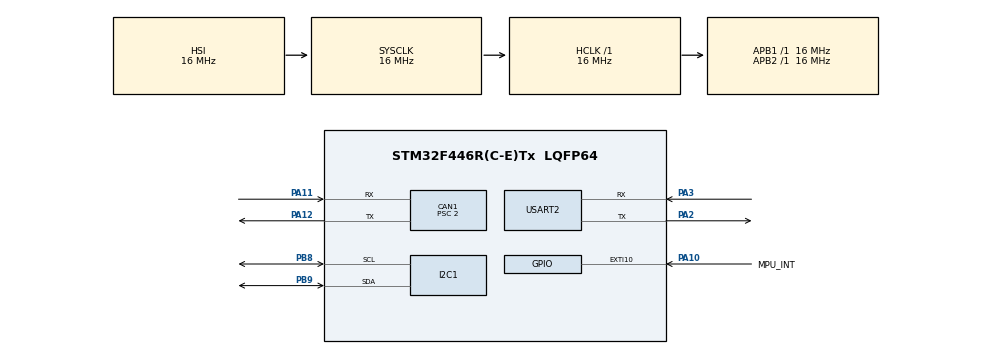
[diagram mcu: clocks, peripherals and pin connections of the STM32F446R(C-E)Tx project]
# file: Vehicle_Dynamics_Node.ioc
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CAN1.ABOM=ENABLE
CAN1.BS1=CAN_BS1_13TQ
CAN1.BS2=CAN_BS2_2TQ
CAN1.CalculateBaudRate=500000
CAN1.CalculateTimeBit=2000
CAN1.CalculateTimeQuantum=125.0
CAN1.Mode=CAN_MODE_LOOPBACK
CAN1.NART=ENABLE
CAN1.Prescaler=2
I2C1.OwnAddress=0x64
Mcu.Family=STM32F4
Mcu.Name=STM32F446R(C-E)Tx
Mcu.Package=LQFP64
NVIC.EXTI15_10_IRQn=true\:0\:0\:false\:false\:true\:true\:true\:true
NVIC.I2C1_EV_IRQn=true\:0\:0\:false\:false\:true\:true\:true\:true
NVIC.PriorityGroup=NVIC_PRIORITYGROUP_4
PA10.GPIO_Label=MPU_INT
PA10.Signal=GPXTI10
PA11.Mode=CAN_Activate
PA11.Signal=CAN1_RX
PA12.Mode=CAN_Activate
PA12.Signal=CAN1_TX
PA2.Mode=Asynchronous
PA2.Signal=USART2_TX
PA3.Mode=Asynchronous
PA3.Signal=USART2_RX
PB8.Mode=I2C
PB8.Signal=I2C1_SCL
PB9.Mode=I2C
PB9.Signal=I2C1_SDA
ProjectManager.HeapSize=0x200
ProjectManager.StackSize=0x400
ProjectManager.TargetToolchain=STM32CubeIDE
RCC.AHBFreq_Value=16000000
RCC.APB1Freq_Value=16000000
RCC.APB1TimFreq_Value=16000000
RCC.APB2Freq_Value=16000000
RCC.APB2TimFreq_Value=16000000
RCC.CortexFreq_Value=16000000
RCC.HCLKFreq_Value=16000000
RCC.SYSCLKFreq_VALUE=16000000
RCC.USBFreq_Value=96000000
RCC.VCOOutputFreq_Value=192000000
USART2.VirtualMode=VM_ASYNC
board=NUCLEO-F446RE

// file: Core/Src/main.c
/* USER CODE BEGIN Header */
/**
  ******************************************************************************
  * @file           : main.c (Vehicle Dynamics Node)
  * @brief          : Main program body
  ******************************************************************************
  * @attention
  *
  * Copyright (c) 2026 STMicroelectronics.
  * All rights reserved.
  *
  * This software is licensed under terms that can be found in the LICENSE file
  * in the root directory of this software component.
  * If no LICENSE file comes with this software, it is provided AS-IS.
  *
  ******************************************************************************
  */
/* USER CODE END Header */
#include "main.h"

/* USER CODE BEGIN Includes */
#include <math.h>
#include <stdio.h>
#include <string.h>
/* USER CODE END Includes */

/* USER CODE BEGIN PD */
#define MPU6050_ADDR (0x68 << 1)
/* USER CODE END PD */

CAN_HandleTypeDef hcan1;

I2C_HandleTypeDef hi2c1;

UART_HandleTypeDef huart2;

/* USER CODE BEGIN PV */
volatile uint8_t imu_data_ready = 0;
volatile uint32_t imu_timestamp_ms = 0;
uint8_t imu_sequence_number = 0;
uint8_t uart_print_counter = 0;
/* USER CODE END PV */

void SystemClock_Config(void);
static void MX_GPIO_Init(void);
static void MX_I2C1_Init(void);
static void MX_USART2_UART_Init(void);
static void MX_CAN1_Init(void);
/* USER CODE BEGIN PFP */
int MPU6050_selftest (void);
int MPU6050_normal_init(void);
int MPU6050_read_sample(int16_t *acc_x, int16_t *acc_y, int16_t *acc_z, int16_t *gyro_x, int16_t *gyro_y, int16_t *gyro_z);
int CAN_Vehicle_init(void);
int CAN_send_imu_frames(int16_t acc_x, int16_t acc_y, int16_t acc_z, int16_t gyro_x, int16_t gyro_y, int16_t gyro_z, uint8_t sequence_number, uint32_t timestamp_ms);
/* USER CODE END PFP */

int main(void)
{

  /* MCU Configuration--------------------------------------------------------*/

  /* Reset of all peripherals, Initializes the Flash interface and the Systick. */
  HAL_Init();

  /* Configure the system clock */
  SystemClock_Config();

  /* Initialize all configured peripherals */
  MX_GPIO_Init();
  MX_I2C1_Init();
  MX_USART2_UART_Init();
  MX_CAN1_Init();
  /* USER CODE BEGIN 2 */
  char bootmsg[] = "\r\n--- VEHICLE BOOT ---\r\n";
  HAL_UART_Transmit(&huart2, (uint8_t *)bootmsg, strlen(bootmsg), 100);

  if(MPU6050_normal_init() != 0){
	  char error[] = "MPU init failed\r\n";
      HAL_UART_Transmit(&huart2, (uint8_t *)error, strlen(error), 100);

      while(1){
      }
  }

  if(CAN_Vehicle_init() != 0){
      char error[] = "CAN init failed\r\n";
      HAL_UART_Transmit(&huart2, (uint8_t *)error, strlen(error), 100);

      while(1){
      }
  }
  /* USER CODE END 2 */

  /* Infinite loop */
  /* USER CODE BEGIN WHILE */
  while (1){
	  if(imu_data_ready == 1){
	  		  imu_data_ready = 0;
	  		  int16_t acc_x, acc_y, acc_z;
	  		  int16_t gyro_x, gyro_y, gyro_z;

	  		if(MPU6050_read_sample(&acc_x, &acc_y, &acc_z, &gyro_x, &gyro_y, &gyro_z) == 0){

	  			uart_print_counter++;

	  			if(uart_print_counter >= 20){

	  				uart_print_counter = 0;

	  				if(CAN_send_imu_frames(acc_x, acc_y, acc_z, gyro_x, gyro_y, gyro_z, imu_sequence_number, imu_timestamp_ms) == 0){

	  					char message[120];

	  					snprintf(message, sizeof(message), "TX IMU sample | Seq=%d | Time=%lu ms\r\n", imu_sequence_number, imu_timestamp_ms);

	  					HAL_UART_Transmit(&huart2, (uint8_t *)message, strlen(message), 100);

	  					imu_sequence_number++;
	  				}
	  			}
	  		}
	  	  }

    /* USER CODE END WHILE */

  }
}

void SystemClock_Config(void)
{
  RCC_OscInitTypeDef RCC_OscInitStruct = {0};
  RCC_ClkInitTypeDef RCC_ClkInitStruct = {0};

  /** Configure the main internal regulator output voltage
  */
  __HAL_RCC_PWR_CLK_ENABLE();
  __HAL_PWR_VOLTAGESCALING_CONFIG(PWR_REGULATOR_VOLTAGE_SCALE3);

  /** Initializes the RCC Oscillators according to the specified parameters
  * in the RCC_OscInitTypeDef structure.
  */
  RCC_OscInitStruct.OscillatorType = RCC_OSCILLATORTYPE_HSI;
  RCC_OscInitStruct.HSIState = RCC_HSI_ON;
  RCC_OscInitStruct.HSICalibrationValue = RCC_HSICALIBRATION_DEFAULT;
  RCC_OscInitStruct.PLL.PLLState = RCC_PLL_NONE;
  if (HAL_RCC_OscConfig(&RCC_OscInitStruct) != HAL_OK)
  {
    Error_Handler();
  }

  /** Initializes the CPU, AHB and APB buses clocks
  */
  RCC_ClkInitStruct.ClockType = RCC_CLOCKTYPE_HCLK|RCC_CLOCKTYPE_SYSCLK
                              |RCC_CLOCKTYPE_PCLK1|RCC_CLOCKTYPE_PCLK2;
  RCC_ClkInitStruct.SYSCLKSource = RCC_SYSCLKSOURCE_HSI;
  RCC_ClkInitStruct.AHBCLKDivider = RCC_SYSCLK_DIV1;
  RCC_ClkInitStruct.APB1CLKDivider = RCC_HCLK_DIV1;
  RCC_ClkInitStruct.APB2CLKDivider = RCC_HCLK_DIV1;

  if (HAL_RCC_ClockConfig(&RCC_ClkInitStruct, FLASH_LATENCY_0) != HAL_OK)
  {
    Error_Handler();
  }
}

static void MX_CAN1_Init(void)
{

  hcan1.Instance = CAN1;
  hcan1.Init.Prescaler = 2;
  hcan1.Init.Mode = CAN_MODE_NORMAL;
  hcan1.Init.SyncJumpWidth = CAN_SJW_1TQ;
  hcan1.Init.TimeSeg1 = CAN_BS1_13TQ;
  hcan1.Init.TimeSeg2 = CAN_BS2_2TQ;
  hcan1.Init.TimeTriggeredMode = DISABLE;
  hcan1.Init.AutoBusOff = ENABLE;
  hcan1.Init.AutoWakeUp = DISABLE;
  hcan1.Init.AutoRetransmission = ENABLE;
  hcan1.Init.ReceiveFifoLocked = DISABLE;
  hcan1.Init.TransmitFifoPriority = DISABLE;
  if (HAL_CAN_Init(&hcan1) != HAL_OK)
  {
    Error_Handler();
  }

}

static void MX_I2C1_Init(void)
{

  hi2c1.Instance = I2C1;
  hi2c1.Init.ClockSpeed = 100000;
  hi2c1.Init.DutyCycle = I2C_DUTYCYCLE_2;
  hi2c1.Init.OwnAddress1 = 0;
  hi2c1.Init.AddressingMode = I2C_ADDRESSINGMODE_7BIT;
  hi2c1.Init.DualAddressMode = I2C_DUALADDRESS_DISABLE;
  hi2c1.Init.OwnAddress2 = 0;
  hi2c1.Init.GeneralCallMode = I2C_GENERALCALL_DISABLE;
  hi2c1.Init.NoStretchMode = I2C_NOSTRETCH_DISABLE;
  if (HAL_I2C_Init(&hi2c1) != HAL_OK)
  {
    Error_Handler();
  }

}

static void MX_USART2_UART_Init(void)
{

  huart2.Instance = USART2;
  huart2.Init.BaudRate = 115200;
  huart2.Init.WordLength = UART_WORDLENGTH_8B;
  huart2.Init.StopBits = UART_STOPBITS_1;
  huart2.Init.Parity = UART_PARITY_NONE;
  huart2.Init.Mode = UART_MODE_TX_RX;
  huart2.Init.HwFlowCtl = UART_HWCONTROL_NONE;
  huart2.Init.OverSampling = UART_OVERSAMPLING_16;
  if (HAL_UART_Init(&huart2) != HAL_OK)
  {
    Error_Handler();
  }

}

static void MX_GPIO_Init(void)
{
  GPIO_InitTypeDef GPIO_InitStruct = {0};

  /* GPIO Ports Clock Enable */
  __HAL_RCC_GPIOA_CLK_ENABLE();
  __HAL_RCC_GPIOB_CLK_ENABLE();

  /*Configure GPIO pin : MPU_INT_Pin */
  GPIO_InitStruct.Pin = MPU_INT_Pin;
  GPIO_InitStruct.Mode = GPIO_MODE_IT_RISING;
  GPIO_InitStruct.Pull = GPIO_NOPULL;
  HAL_GPIO_Init(MPU_INT_GPIO_Port, &GPIO_InitStruct);

  /* EXTI interrupt init*/
  HAL_NVIC_SetPriority(EXTI15_10_IRQn, 0, 0);
  HAL_NVIC_EnableIRQ(EXTI15_10_IRQn);

}

/* USER CODE BEGIN 4 */

/**
  * @brief MPU-6050 self test percentage
  * @retval None
  */
int MPU6050_selftest(void)
{
    const int SELF_TEST_SAMPLES = 200;

    uint8_t gyrost = 0xE0;
    uint8_t accst = 0xF0;
    uint8_t wake = 0x00;
    uint8_t gyro_normal = 0x00;
    uint8_t acc_normal = 0x10;

    int16_t gyro_measurement_x, gyro_measurement_y, gyro_measurement_z;
    int16_t acc_measurement_x, acc_measurement_y, acc_measurement_z;
    int16_t gyrost_measurement_x, gyrost_measurement_y, gyrost_measurement_z;
    int16_t accst_measurement_x, accst_measurement_y, accst_measurement_z;

    int32_t gyro_sum_x, gyro_sum_y, gyro_sum_z;
    int32_t acc_sum_x, acc_sum_y, acc_sum_z;

    uint8_t XGst, YGst, ZGst;
    uint8_t Ast;

    uint8_t gyro_raw[6];
    uint8_t acc_raw[6];

    float FTXG, FTYG, FTZG, FTXA, FTYA, FTZA;

    // MPU comes up in sleep mode upon power-up so Set sleep bit to 0
    if(HAL_I2C_Mem_Write(&hi2c1, MPU6050_ADDR, 0x6B, I2C_MEMADD_SIZE_8BIT, &wake, 1, 100) != HAL_OK){
        return -1;}
    //

    //Setting normal ranges before baseline readings
    if(HAL_I2C_Mem_Write(&hi2c1, MPU6050_ADDR, 0x1B, I2C_MEMADD_SIZE_8BIT, &gyro_normal, 1, 100) != HAL_OK){
        return -1;}

    if(HAL_I2C_Mem_Write(&hi2c1, MPU6050_ADDR, 0x1C, I2C_MEMADD_SIZE_8BIT, &acc_normal, 1, 100) != HAL_OK){
        return -1;}
    //

    HAL_Delay(1000);

    //Gyroscope measurements without self test
    gyro_sum_x = 0;
    gyro_sum_y = 0;
    gyro_sum_z = 0;

    for(int i = 0; i < SELF_TEST_SAMPLES; i++){
        if(HAL_I2C_Mem_Read(&hi2c1, MPU6050_ADDR, 0x43, I2C_MEMADD_SIZE_8BIT, gyro_raw, 6, 100) != HAL_OK){
            return -1;}

        gyro_sum_x += ((int16_t)gyro_raw[0] << 8) | gyro_raw[1];
        gyro_sum_y += ((int16_t)gyro_raw[2] << 8) | gyro_raw[3];
        gyro_sum_z += ((int16_t)gyro_raw[4] << 8) | gyro_raw[5];

        HAL_Delay(2);}

    gyro_measurement_x = gyro_sum_x / SELF_TEST_SAMPLES;
    gyro_measurement_y = gyro_sum_y / SELF_TEST_SAMPLES;
    gyro_measurement_z = gyro_sum_z / SELF_TEST_SAMPLES;
    //

    //Accelerometer measurements without self test
    acc_sum_x = 0;
    acc_sum_y = 0;
    acc_sum_z = 0;

    for(int i = 0; i < SELF_TEST_SAMPLES; i++){
        if(HAL_I2C_Mem_Read(&hi2c1, MPU6050_ADDR, 0x3B, I2C_MEMADD_SIZE_8BIT, acc_raw, 6, 100) != HAL_OK){
            return -1;}

        acc_sum_x += ((int16_t)acc_raw[0] << 8) | acc_raw[1];
        acc_sum_y += ((int16_t)acc_raw[2] << 8) | acc_raw[3];
        acc_sum_z += ((int16_t)acc_raw[4] << 8) | acc_raw[5];

        HAL_Delay(2);}

    acc_measurement_x = acc_sum_x / SELF_TEST_SAMPLES;
    acc_measurement_y = acc_sum_y / SELF_TEST_SAMPLES;
    acc_measurement_z = acc_sum_z / SELF_TEST_SAMPLES;
    //

    //Turning on Self Test
    if(HAL_I2C_Mem_Write(&hi2c1, MPU6050_ADDR, 0x1B, I2C_MEMADD_SIZE_8BIT, &gyrost, 1, 100) != HAL_OK){
        return -1;}

    if(HAL_I2C_Mem_Write(&hi2c1, MPU6050_ADDR, 0x1C, I2C_MEMADD_SIZE_8BIT, &accst, 1, 100) != HAL_OK){
        return -1;}
    //

    HAL_Delay(100);

    //Obtaining [X-Z]g/a
    uint8_t self_test_codes[4];

    if(HAL_I2C_Mem_Read(&hi2c1, MPU6050_ADDR, 0x0D, I2C_MEMADD_SIZE_8BIT, self_test_codes, 4, 100) != HAL_OK){
        return -1;}

    XGst = self_test_codes[0];
    YGst = self_test_codes[1];
    ZGst = self_test_codes[2];
    Ast = self_test_codes[3];
    //

    //Gyroscope measurements with self test
    gyro_sum_x = 0;
    gyro_sum_y = 0;
    gyro_sum_z = 0;

    for(int i = 0; i < SELF_TEST_SAMPLES; i++){
        if(HAL_I2C_Mem_Read(&hi2c1, MPU6050_ADDR, 0x43, I2C_MEMADD_SIZE_8BIT, gyro_raw, 6, 100) != HAL_OK){
            return -1;}

        gyro_sum_x += ((int16_t)gyro_raw[0] << 8) | gyro_raw[1];
        gyro_sum_y += ((int16_t)gyro_raw[2] << 8) | gyro_raw[3];
        gyro_sum_z += ((int16_t)gyro_raw[4] << 8) | gyro_raw[5];

        HAL_Delay(2);}

    gyrost_measurement_x = gyro_sum_x / SELF_TEST_SAMPLES;
    gyrost_measurement_y = gyro_sum_y / SELF_TEST_SAMPLES;
    gyrost_measurement_z = gyro_sum_z / SELF_TEST_SAMPLES;
    //

    //Accelerometer measurements with self test
    acc_sum_x = 0;
    acc_sum_y = 0;
    acc_sum_z = 0;

    for(int i = 0; i < SELF_TEST_SAMPLES; i++){
        if(HAL_I2C_Mem_Read(&hi2c1, MPU6050_ADDR, 0x3B, I2C_MEMADD_SIZE_8BIT, acc_raw, 6, 100) != HAL_OK){
            return -1;}

        acc_sum_x += ((int16_t)acc_raw[0] << 8) | acc_raw[1];
        acc_sum_y += ((int16_t)acc_raw[2] << 8) | acc_raw[3];
        acc_sum_z += ((int16_t)acc_raw[4] << 8) | acc_raw[5];

        HAL_Delay(2);}

    accst_measurement_x = acc_sum_x / SELF_TEST_SAMPLES;
    accst_measurement_y = acc_sum_y / SELF_TEST_SAMPLES;
    accst_measurement_z = acc_sum_z / SELF_TEST_SAMPLES;
    //

    //Turning off Self Test
    HAL_I2C_Mem_Write(&hi2c1, MPU6050_ADDR, 0x1B, I2C_MEMADD_SIZE_8BIT, &gyro_normal, 1, 100);
    HAL_I2C_Mem_Write(&hi2c1, MPU6050_ADDR, 0x1C, I2C_MEMADD_SIZE_8BIT, &acc_normal, 1, 100);
    //

    //Using DataSheet Equations to calculate FT[g/a]
    uint8_t XGvalue = XGst & 0x1F;
    uint8_t YGvalue = YGst & 0x1F;
    uint8_t ZGvalue = ZGst & 0x1F;

    if(XGvalue != 0){
        FTXG = 25.0f * 131.0f * powf(1.046f, (float)(XGvalue - 1));}
    else{
        FTXG = 0;}

    if(YGvalue != 0){
        FTYG = -25.0f * 131.0f * powf(1.046f, (float)(YGvalue - 1));}
    else{
        FTYG = 0;}

    if(ZGvalue != 0){
        FTZG = 25.0f * 131.0f * powf(1.046f, (float)(ZGvalue - 1));}
    else{
        FTZG = 0;}

    uint8_t XAvalue = (((XGst >> 5) & 0x07) << 2) | ((Ast >> 4) & 0x03);
    uint8_t YAvalue = (((YGst >> 5) & 0x07) << 2) | ((Ast >> 2) & 0x03);
    uint8_t ZAvalue = (((ZGst >> 5) & 0x07) << 2) | (Ast & 0x03);

    if(XAvalue != 0){
        FTXA = 4096.0f * 0.34f * powf(0.92f / 0.34f, (XAvalue - 1) / 30.0f);}
    else{
        FTXA = 0;}

    if(YAvalue != 0){
        FTYA = 4096.0f * 0.34f * powf(0.92f / 0.34f, (YAvalue - 1) / 30.0f);}
    else{
        FTYA = 0;}

    if(ZAvalue != 0){
        FTZA = 4096.0f * 0.34f * powf(0.92f / 0.34f, (ZAvalue - 1) / 30.0f);}
    else{
        FTZA = 0;}
    //

    //STR Gyro calculation
    int32_t STRgyro_x = (int32_t)gyrost_measurement_x - gyro_measurement_x;
    int32_t STRgyro_y = (int32_t)gyrost_measurement_y - gyro_measurement_y;
    int32_t STRgyro_z = (int32_t)gyrost_measurement_z - gyro_measurement_z;
    //

    //STR Acc Calculation
    int32_t STRacc_x = (int32_t)accst_measurement_x - acc_measurement_x;
    int32_t STRacc_y = (int32_t)accst_measurement_y - acc_measurement_y;
    int32_t STRacc_z = (int32_t)accst_measurement_z - acc_measurement_z;
    //

    //Change from factory trim Self Test (%)
    if((FTXG == 0) || (FTYG == 0) || (FTZG == 0) || (FTXA == 0) || (FTYA == 0) || (FTZA == 0)){
        return -2;}

    float FTGyroX = 100.0f * ((float)STRgyro_x - FTXG) / FTXG;
    float FTGyroY = 100.0f * ((float)STRgyro_y - FTYG) / FTYG;
    float FTGyroZ = 100.0f * ((float)STRgyro_z - FTZG) / FTZG;

    float FTAccX = 100.0f * ((float)STRacc_x - FTXA) / FTXA;
    float FTAccY = 100.0f * ((float)STRacc_y - FTYA) / FTYA;
    float FTAccZ = 100.0f * ((float)STRacc_z - FTZA) / FTZA;
    //

    char message[240];

    snprintf(message, sizeof(message),
             "Gyro self-test change:\r\n"
             "X = %.2f%%\r\n"
             "Y = %.2f%%\r\n"
             "Z = %.2f%%\r\n"
             "Accel self-test change:\r\n"
             "X = %.2f%%\r\n"
             "Y = %.2f%%\r\n"
             "Z = %.2f%%\r\n",
             FTGyroX, FTGyroY, FTGyroZ,
             FTAccX, FTAccY, FTAccZ);

    HAL_UART_Transmit(&huart2, (uint8_t *)message, strlen(message), 100);

    return 0;
}

/**
  * @brief Normal Initialisation
  * @retval None
  */
int MPU6050_normal_init(void)
{
    uint8_t wake = 0x00;
    uint8_t sample_rate_divider = 4;
    uint8_t config = 0x03;
    uint8_t gyro_config = 0x00;
    uint8_t accel_config = 0x10;
    uint8_t int_enable = 0x01;

    // Wake MPU
    if(HAL_I2C_Mem_Write(&hi2c1, MPU6050_ADDR, 0x6B, I2C_MEMADD_SIZE_8BIT, &wake, 1, 100) != HAL_OK){
        return -1;}

    // DLPF enabled, approximately 42 Hz gyro bandwidth
    if(HAL_I2C_Mem_Write(&hi2c1, MPU6050_ADDR, 0x1A, I2C_MEMADD_SIZE_8BIT, &config, 1, 100) != HAL_OK){
        return -1;}

    // 1 kHz / (1 + 4) = 200 Hz sample rate
    if(HAL_I2C_Mem_Write(&hi2c1, MPU6050_ADDR, 0x19, I2C_MEMADD_SIZE_8BIT, &sample_rate_divider, 1, 100) != HAL_OK){
        return -1;}

    // Gyro ±250 dps
    if(HAL_I2C_Mem_Write(&hi2c1, MPU6050_ADDR, 0x1B, I2C_MEMADD_SIZE_8BIT, &gyro_config, 1, 100) != HAL_OK){
        return -1;}

    // Accelerometer ±8 g
    if(HAL_I2C_Mem_Write(&hi2c1, MPU6050_ADDR, 0x1C, I2C_MEMADD_SIZE_8BIT, &accel_config, 1, 100) != HAL_OK){
        return -1;}

    // Enable Data Ready interrupt
    if(HAL_I2C_Mem_Write(&hi2c1, MPU6050_ADDR, 0x38, I2C_MEMADD_SIZE_8BIT, &int_enable, 1, 100) != HAL_OK){
        return -1;}

    return 0;
}

/**
  * @brief acquiring data from MPU-6050 registers
  * @retval accelerometer and gyroscope data
  */
int MPU6050_read_sample(int16_t *acc_x, int16_t *acc_y, int16_t *acc_z, int16_t *gyro_x, int16_t *gyro_y, int16_t *gyro_z){
    uint8_t raw_data[14]; //Temperature reading not needed so it is not stored and separating the reading results
    					  //two different I2C which will result uncorrelated gyroscope and accelerometer

    if(HAL_I2C_Mem_Read(&hi2c1, 0x68 << 1, 0x3B, I2C_MEMADD_SIZE_8BIT, raw_data, 14, 100) != HAL_OK){
        return -1;}

    *acc_x = ((int16_t)raw_data[0] << 8) | raw_data[1];
    *acc_y = ((int16_t)raw_data[2] << 8) | raw_data[3];
    *acc_z = ((int16_t)raw_data[4] << 8) | raw_data[5];

    *gyro_x = ((int16_t)raw_data[8] << 8) | raw_data[9];
    *gyro_y = ((int16_t)raw_data[10] << 8) | raw_data[11];
    *gyro_z = ((int16_t)raw_data[12] << 8) | raw_data[13];

    return 0;
}

/**
  * @brief detecting MPU_INT_PIN
  * @retval Imu_data_ready set
  */
void HAL_GPIO_EXTI_Callback(uint16_t GPIO_Pin)
{
    if(GPIO_Pin == MPU_INT_Pin){
        imu_data_ready = 1;
        imu_timestamp_ms = HAL_GetTick();
    }
}

/**
  * @brief configuring allow all filter for loop back mode
  * @retval None
  */
int CAN_Vehicle_init(void)
{
    CAN_FilterTypeDef filter = {0};

    filter.FilterActivation = CAN_FILTER_ENABLE;
    filter.FilterBank = 0;
    filter.FilterFIFOAssignment = CAN_FILTER_FIFO0;
    filter.FilterIdHigh = 0;
    filter.FilterIdLow = 0;
    filter.FilterMaskIdHigh = 0;
    filter.FilterMaskIdLow = 0;
    filter.FilterMode = CAN_FILTERMODE_IDMASK;
    filter.FilterScale = CAN_FILTERSCALE_32BIT;
    filter.SlaveStartFilterBank = 14;

    if(HAL_CAN_ConfigFilter(&hcan1, &filter) != HAL_OK){
        return -1;
    }

    if(HAL_CAN_Start(&hcan1) != HAL_OK){
        return -2;
    }

    return 0;
}

/**
  * @brief CAN bus send
  * @retval None
  */
int CAN_send_imu_frames(int16_t acc_x, int16_t acc_y, int16_t acc_z, int16_t gyro_x, int16_t gyro_y, int16_t gyro_z, uint8_t sequence_number, uint32_t timestamp_ms){
    CAN_TxHeaderTypeDef tx_header;
    uint32_t tx_mailbox;
    uint8_t tx_data[8];

    tx_header.IDE = CAN_ID_STD;
    tx_header.RTR = CAN_RTR_DATA;
    tx_header.DLC = 8;
    tx_header.TransmitGlobalTime = DISABLE;

    // Accel frame: CAN ID 0x120
    tx_header.StdId = 0x120;

    tx_data[0] = (uint8_t)(acc_x >> 8);
    tx_data[1] = (uint8_t)acc_x;
    tx_data[2] = (uint8_t)(acc_y >> 8);
    tx_data[3] = (uint8_t)acc_y;
    tx_data[4] = (uint8_t)(acc_z >> 8);
    tx_data[5] = (uint8_t)acc_z;
    tx_data[6] = sequence_number;
    tx_data[7] = 0x00;

    if(HAL_CAN_AddTxMessage(&hcan1, &tx_header, tx_data, &tx_mailbox) != HAL_OK){
        return -1;}

    // Gyro frame: CAN ID 0x121
    tx_header.StdId = 0x121;

    tx_data[0] = (uint8_t)(gyro_x >> 8);
    tx_data[1] = (uint8_t)gyro_x;
    tx_data[2] = (uint8_t)(gyro_y >> 8);
    tx_data[3] = (uint8_t)gyro_y;
    tx_data[4] = (uint8_t)(gyro_z >> 8);
    tx_data[5] = (uint8_t)gyro_z;
    tx_data[6] = sequence_number;
    tx_data[7] = 0x00;

    if(HAL_CAN_AddTxMessage(&hcan1, &tx_header, tx_data, &tx_mailbox) != HAL_OK){
        return -1;}
    //TimeStamp frame: CAN ID 0x122
    /*tx_header.StdId = 0x122;
    tx_header.DLC = 5;

    tx_data[0] = (uint8_t)(timestamp_ms >> 24);
    tx_data[1] = (uint8_t)(timestamp_ms >> 16);
    tx_data[2] = (uint8_t)(timestamp_ms >> 8);
    tx_data[3] = (uint8_t)timestamp_ms;
    tx_data[4] = sequence_number;

    if(HAL_CAN_AddTxMessage(&hcan1, &tx_header, tx_data, &tx_mailbox) != HAL_OK){
        return -1;
    }
	*/
    return 0;
}
/* USER CODE END 4 */

void Error_Handler(void)
{
  __disable_irq();
  while (1)
  {
  }
}
